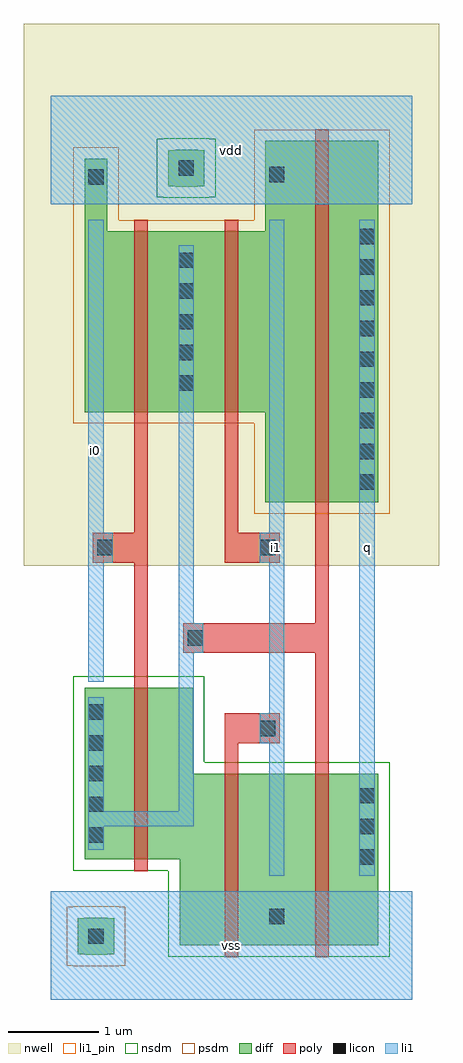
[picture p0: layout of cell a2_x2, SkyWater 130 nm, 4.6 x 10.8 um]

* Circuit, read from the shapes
.subckt a2_x2 i0 i1 q vdd vss
XM1 n1 i0 n2 VSUBS sky130_fd_pr__nfet_01v8 w=1.9 l=0.15
XM2 vss i1 n1 VSUBS sky130_fd_pr__nfet_01v8 w=1.9 l=0.15
XM3 q n2 vss VSUBS sky130_fd_pr__nfet_01v8 w=1.9 l=0.15
XM4 n2 i0 vdd n3 sky130_fd_pr__pfet_01v8 w=2 l=0.15
XM5 vdd i1 n2 n3 sky130_fd_pr__pfet_01v8 w=2 l=0.15
XM6 q n2 vdd n3 sky130_fd_pr__pfet_01v8 w=4 l=0.15
.ends

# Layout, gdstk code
import gdstk
lib = gdstk.Library(unit=1e-6, precision=1e-09)
def R(c, l, rs):  # rectangles x0, y0, x1, y1
    for r in rs: c.add(gdstk.rectangle(r[:2], r[2:], *l))
def A(c, l, x, y, w, h, nx, ny, dx, dy):  # array of equal rectangles
    R(c, l, [(x+i*dx, y+j*dy, x+i*dx+w, y+j*dy+h) for i in range(nx) for j in range(ny)])
def P(c, l, *ps):  # polygons
    for p in ps: c.add(gdstk.Polygon(p, *l))
nwell = (64, 20)
diff = (65, 20)
poly = (66, 20)
licon = (66, 44)
li1_pin = (67, 16)
li1 = (67, 20)
nsdm = (93, 44)
psdm = (94, 20)

a2_x2 = lib.new_cell('a2_x2')
R(a2_x2, nwell, [(-0.3,4.8,4.3,10.8)])
P(a2_x2, diff, [(0.375,0.495),(0.375,0.5),(0.3,0.5),(0.3,0.9),(0.375,0.9),(0.375,0.905),(0.625,0.905),(0.625,0.9),(0.7,0.9),(0.7,0.5),(0.625,0.5),(0.625,0.495)],
  [(1.425,0.6),(1.425,1.55),(0.375,1.55),(0.375,3.45),(1.575,3.45),(1.575,2.5),(3.625,2.5),(3.625,0.6)],
  [(1.375,8.995),(1.375,9),(1.3,9),(1.3,9.4),(1.375,9.4),(1.375,9.405),(1.625,9.405),(1.625,9.4),(1.7,9.4),(1.7,9),(1.625,9),(1.625,8.995)],
  [(2.375,5.5),(2.375,6.5),(0.375,6.5),(0.375,9.305),(0.625,9.305),(0.625,8.5),(2.375,8.5),(2.375,9.5),(3.625,9.5),(3.625,5.5)])
P(a2_x2, poly, [(1.925,0.47),(1.925,3.165),(2.535,3.165),(2.535,2.835),(2.075,2.835),(2.075,0.47)],
  [(0.925,1.42),(0.925,4.835),(0.465,4.835),(0.465,5.165),(0.925,5.165),(0.925,8.63),(1.075,8.63),(1.075,1.42)],
  [(1.925,4.835),(1.925,8.63),(2.075,8.63),(2.075,5.165),(2.535,5.165),(2.535,4.835)],
  [(2.925,0.47),(2.925,3.835),(1.465,3.835),(1.465,4.165),(2.925,4.165),(2.925,9.63),(3.075,9.63),(3.075,0.47)])
A(a2_x2, licon, 3.415, 1.49, 0.17, 0.17, 1, 3, 0, 0.34)
A(a2_x2, licon, 0.415, 1.735, 0.17, 0.17, 1, 5, 0, 0.34)
A(a2_x2, licon, 3.415, 5.64, 0.17, 0.17, 1, 9, 0, 0.34)
A(a2_x2, licon, 1.415, 6.735, 0.17, 0.17, 1, 5, 0, 0.34)
R(a2_x2, licon, [(0.415,0.615,0.585,0.785), (2.415,0.835,2.585,1.005), (2.315,2.915,2.485,3.085), (1.515,3.915,1.685,4.085), (0.515,4.915,0.685,5.085), (2.315,4.915,2.485,5.085), (0.415,9.015,0.585,9.185), (2.415,9.045,2.585,9.215), (1.415,9.115,1.585,9.285)])
R(a2_x2, li1_pin, [(0,0,4,1.2), (2.415,1.37,2.585,8.63), (3.415,1.37,3.585,8.63), (0.415,3.515,0.585,8.63), (0,8.8,4,10)])
R(a2_x2, li1, [(0,0,4,1.2), (3.415,1.37,3.585,8.63), (0,8.8,4,10)])
P(a2_x2, li1, [(0.415,1.655),(0.415,3.345),(0.585,3.345),(0.585,2.085),(1.415,2.085),(1.415,8.345),(1.585,8.345),(1.585,4.165),(1.685,4.165),(1.685,3.835),(1.585,3.835),(1.585,1.915),(0.585,1.915),(0.585,1.655)],
  [(0.415,3.515),(0.415,8.63),(0.585,8.63),(0.585,5.165),(0.685,5.165),(0.685,4.835),(0.585,4.835),(0.585,3.515)],
  [(2.415,1.37),(2.415,2.835),(2.315,2.835),(2.315,3.165),(2.415,3.165),(2.415,4.835),(2.315,4.835),(2.315,5.165),(2.415,5.165),(2.415,8.63),(2.585,8.63),(2.585,1.37)])
P(a2_x2, nsdm, [(1.3,0.475),(1.3,1.425),(0.25,1.425),(0.25,3.575),(1.7,3.575),(1.7,2.625),(3.75,2.625),(3.75,0.475)],
  [(1.25,8.87),(1.25,8.875),(1.175,8.875),(1.175,9.525),(1.25,9.525),(1.25,9.53),(1.75,9.53),(1.75,9.525),(1.825,9.525),(1.825,8.875),(1.75,8.875),(1.75,8.87)])
P(a2_x2, psdm, [(0.25,0.37),(0.25,0.375),(0.175,0.375),(0.175,1.025),(0.25,1.025),(0.25,1.03),(0.75,1.03),(0.75,1.025),(0.825,1.025),(0.825,0.375),(0.75,0.375),(0.75,0.37)],
  [(2.25,5.375),(2.25,6.375),(0.25,6.375),(0.25,9.43),(0.75,9.43),(0.75,8.625),(2.25,8.625),(2.25,9.625),(3.75,9.625),(3.75,5.375)])
a2_x2.add(gdstk.Label('vss', (2,0.6), layer=67, texttype=16))
a2_x2.add(gdstk.Label('q', (3.5,5), layer=67, texttype=16))
a2_x2.add(gdstk.Label('vdd', (2,9.4), layer=67, texttype=16))
a2_x2.add(gdstk.Label('i0', (0.5,6.073), layer=67, texttype=16))
a2_x2.add(gdstk.Label('i1', (2.5,5), layer=67, texttype=16))
a2_x2.add(gdstk.Label('vss', (2,0.6), layer=67, texttype=16))
a2_x2.add(gdstk.Label('q', (3.5,5), layer=67, texttype=16))
a2_x2.add(gdstk.Label('vdd', (2,9.4), layer=67, texttype=16))
a2_x2.add(gdstk.Label('i0', (0.5,6.073), layer=67, texttype=16))
a2_x2.add(gdstk.Label('i1', (2.5,5), layer=67, texttype=16))

lib.write_gds('a2_x2.gds')
